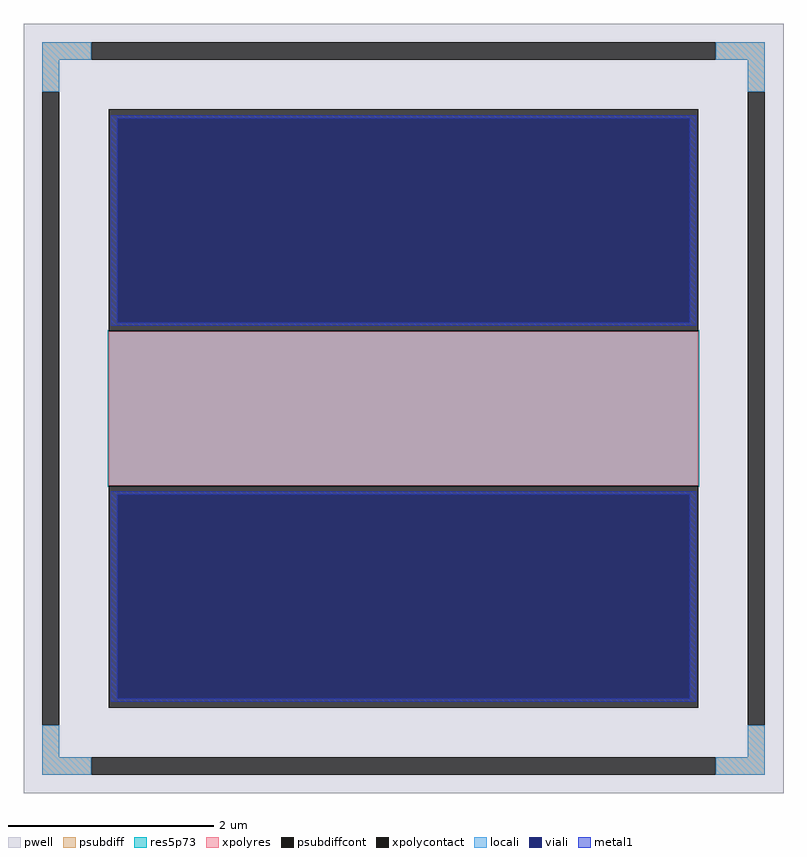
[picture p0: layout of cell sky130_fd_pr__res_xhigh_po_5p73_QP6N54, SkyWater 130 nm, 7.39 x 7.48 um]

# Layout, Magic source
magic
tech sky130A
magscale 1 2
<< pwell >>
rect -739 -748 739 748
<< psubdiff >>
rect -703 678 -607 712
rect 607 678 703 712
rect -703 616 -669 678
rect 669 616 703 678
rect -703 -678 -669 -616
rect 669 -678 703 -616
rect -703 -712 -607 -678
rect 607 -712 703 -678
<< psubdiffcont >>
rect -607 678 607 712
rect -703 -616 -669 616
rect 669 -616 703 616
rect -607 -712 607 -678
<< xpolycontact >>
rect -573 150 573 582
rect -573 -582 573 -150
<< xpolyres >>
rect -573 -150 573 150
<< locali >>
rect -703 678 -607 712
rect 607 678 703 712
rect -703 616 -669 678
rect 669 616 703 678
rect -703 -678 -669 -616
rect 669 -678 703 -616
rect -703 -712 -607 -678
rect 607 -712 703 -678
<< viali >>
rect -557 167 557 564
rect -557 -564 557 -167
<< metal1 >>
rect -569 564 569 570
rect -569 167 -557 564
rect 557 167 569 564
rect -569 161 569 167
rect -569 -167 569 -161
rect -569 -564 -557 -167
rect 557 -564 569 -167
rect -569 -570 569 -564
<< res5p73 >>
rect -575 -152 575 152
<< properties >>
string FIXED_BBOX -686 -695 686 695
string gencell sky130_fd_pr__res_xhigh_po_5p73
string library sky130
string parameters w 5.730 l 1.5 m 1 nx 1 wmin 5.730 lmin 0.50 rho 2000 val 589.249 dummy 0 dw 0.0 term 188.2 sterm 0.0 caplen 0 wmax 5.730 guard 1 glc 1 grc 1 gtc 1 gbc 1 compatible {sky130_fd_pr__res_xhigh_po_0p35  sky130_fd_pr__res_xhigh_po_0p69 sky130_fd_pr__res_xhigh_po_1p41  sky130_fd_pr__res_xhigh_po_2p85 sky130_fd_pr__res_xhigh_po_5p73} full_metal 1 n_guard 0 hv_guard 0 vias 1 viagb 0 viagt 0 viagl 0 viagr 0
<< end >>
